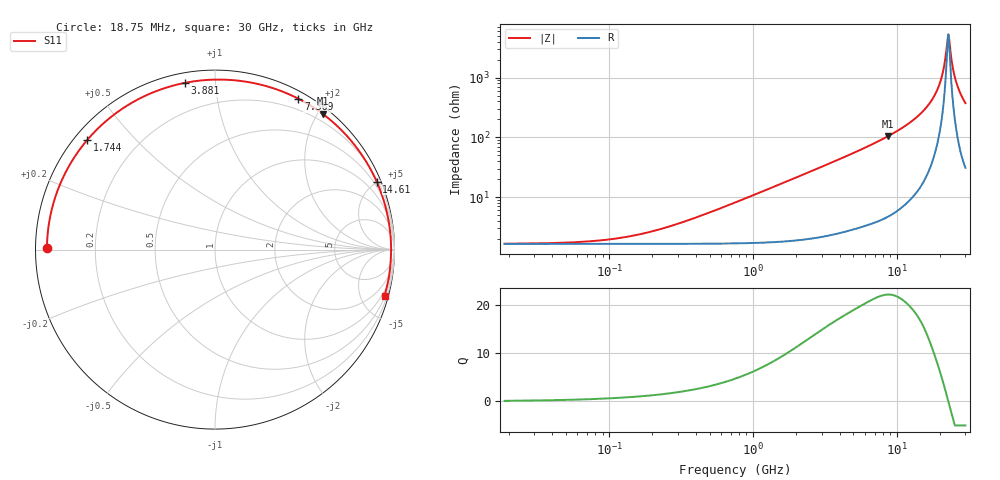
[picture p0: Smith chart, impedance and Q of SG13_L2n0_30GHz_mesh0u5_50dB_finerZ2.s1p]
#  Hz  S  RI  R  50
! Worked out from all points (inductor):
!   1600 points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, 18.75 MHz to 30 GHz, reference 50 ohm
!   read as one part to ground: L = 1.68 nH near 487.5 MHz
!   highest Q = 22.2 at 8.625 GHz (marker M1), where L = 1.9 nH
!   self-resonance near 22.84 GHz
!   S11 on the Smith chart (normalised r, x): 18.75 MHz: 0.03, +0.00; 1.744 GHz: 0.04, +0.37; 3.881 GHz: 0.05, +0.83; 7.369 GHz: 0.08, +1.69; 14.61 GHz: 0.29, +4.94; 30 GHz: 0.62, -7.46
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1.875e7  -0.9364 0.00741
1.5e8  -0.9346 0.0592
4.125e8  -0.9224 0.1619
8.25e8  -0.8815 0.3169
1.25625e9  -0.8136 0.4651
1.74375e9  -0.7126 0.6098
2.23125e9  -0.5944 0.7267
2.71875e9  -0.4676 0.8155
3.225e9  -0.3342 0.8803
3.76875e9  -0.1952 0.9231
3.88125e9  -0.1675 0.929
4.25625e9  -0.0779 0.9424
4.66875e9  0.0147 0.9473
5.5875e9  0.1972 0.9313
6.45e9  0.34 0.8938
7.36875e9  0.4651 0.8404
7.51875e9  0.4832 0.8309
8.625e9  0.599 0.757
9.88125e9  0.6993 0.6707
1.126875e10  0.7813 0.5781
1.284375e10  0.8484 0.4798
1.460625e10  0.9009 0.3785
1.501875e10  0.9105 0.3561
1.678125e10  0.9425 0.265
1.876875e10  0.9651 0.1711
2.251875e10  0.9811 0.0126
2.626875e10  0.9725 -0.128
3e10  0.9446 -0.256
